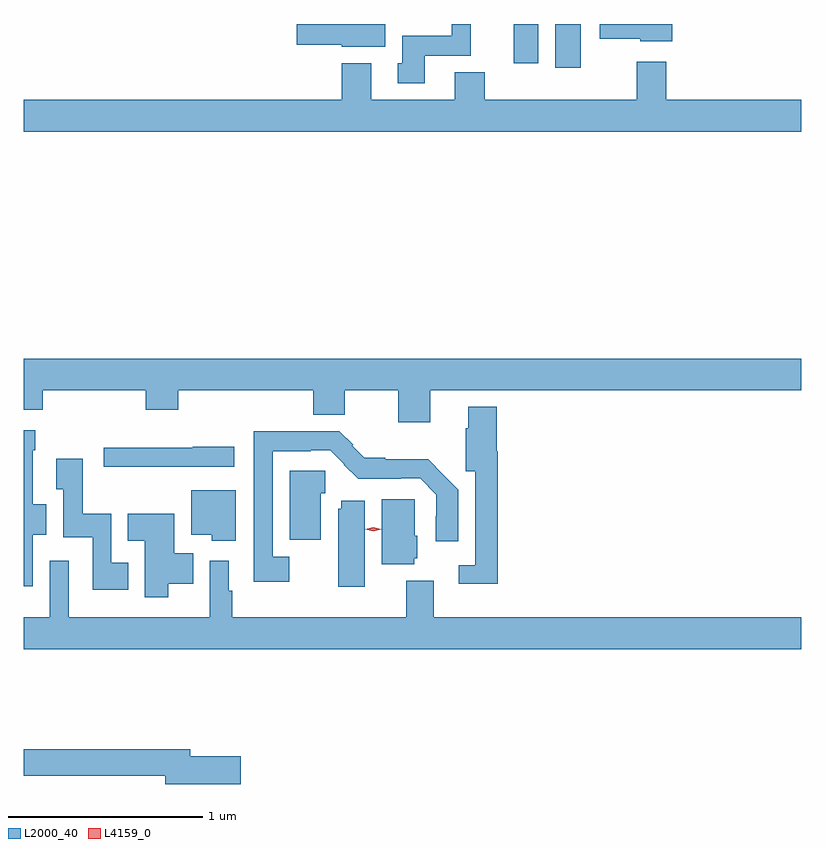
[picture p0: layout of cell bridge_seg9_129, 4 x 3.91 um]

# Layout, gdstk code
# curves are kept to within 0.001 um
import gdstk
lib = gdstk.Library(unit=1e-6, precision=1e-09)
def R(c, l, rs):  # rectangles x0, y0, x1, y1
    for r in rs: c.add(gdstk.rectangle(r[:2], r[2:], *l))
def P(c, l, *ps):  # polygons
    for p in ps: c.add(gdstk.Polygon(p, *l))
L2000_40 = (2000, 40)
L4159_0 = (4159, 0)

bridge_seg9_129 = lib.new_cell('bridge_seg9_129')
R(bridge_seg9_129, L2000_40, [(396.233,1240.704,396.364,1240.93), (396.02,1240.728,396.145,1240.93)])
P(bridge_seg9_129, L2000_40, [(396.835,1240.93),(396.464,1240.93),(396.464,1240.853),(396.672,1240.853),(396.672,1240.841),(396.835,1240.841)],
  [(395.359,1240.93),(394.902,1240.93),(394.902,1240.823),(395.136,1240.823),(395.136,1240.814),(395.359,1240.814)],
  [(395.563,1240.766),(395.799,1240.766),(395.799,1240.93),(395.7,1240.93),(395.7,1240.87),(395.447,1240.87),(395.447,1240.728),(395.423,1240.728),(395.423,1240.626),(395.563,1240.626)],
  [(397.499,1240.54),(396.806,1240.54),(396.806,1240.735),(396.653,1240.735),(396.653,1240.54),(395.87,1240.54),(395.87,1240.681),(395.717,1240.681),(395.717,1240.54),(395.287,1240.54),(395.287,1240.729),(395.135,1240.729),(395.135,1240.54),(393.499,1240.54),(393.499,1240.376),(397.499,1240.376)],
  [(395.59,1239.044),(397.499,1239.044),(397.499,1239.208),(393.499,1239.208),(393.499,1238.945),(393.596,1238.945),(393.596,1239.044),(394.127,1239.044),(394.127,1238.945),(394.292,1238.945),(394.292,1239.044),(394.988,1239.044),(394.988,1238.918),(395.149,1238.918),(395.149,1239.044),(395.426,1239.044),(395.426,1238.88),(395.59,1238.88)],
  [(395.939,1238.731),(395.933,1238.731),(395.933,1238.959),(395.786,1238.959),(395.786,1238.849),(395.774,1238.849),(395.774,1238.628),(395.823,1238.628),(395.823,1238.145),(395.736,1238.145),(395.736,1238.048),(395.939,1238.048)],
  [(393.543,1238.302),(393.613,1238.302),(393.613,1238.457),(393.543,1238.457),(393.543,1238.735),(393.556,1238.735),(393.556,1238.838),(393.499,1238.838),(393.499,1238.036),(393.543,1238.036)],
  [(394.864,1238.188),(394.779,1238.188),(394.779,1238.732),(394.976,1238.732),(394.976,1238.736),(395.076,1238.736),(395.148,1238.664),(395.146,1238.662),(395.22,1238.588),(395.438,1238.588),(395.438,1238.592),(395.538,1238.592),(395.622,1238.508),(395.622,1238.395),(395.618,1238.395),(395.618,1238.268),(395.734,1238.268),(395.734,1238.532),(395.579,1238.689),(395.359,1238.689),(395.359,1238.697),(395.251,1238.697),(395.189,1238.759),(395.193,1238.763),(395.123,1238.833),(394.683,1238.833),(394.683,1238.06),(394.864,1238.06)],
  [(394.265,1238.652),(394.582,1238.652),(394.582,1238.753),(394.369,1238.753),(394.369,1238.75),(393.909,1238.75),(393.909,1238.65),(394.265,1238.65)],
  [(394.036,1238.158),(393.948,1238.158),(393.948,1238.41),(393.801,1238.41),(393.801,1238.692),(393.665,1238.692),(393.665,1238.536),(393.702,1238.536),(393.702,1238.288),(393.852,1238.288),(393.852,1238.018),(394.036,1238.018)],
  [(395.026,1238.514),(395.049,1238.514),(395.049,1238.631),(394.868,1238.631),(394.868,1238.276),(395.026,1238.276)],
  [(394.588,1238.53),(394.361,1238.53),(394.361,1238.3),(394.466,1238.3),(394.466,1238.27),(394.588,1238.27)],
  [(395.508,1238.181),(395.524,1238.181),(395.524,1238.295),(395.511,1238.295),(395.511,1238.484),(395.342,1238.484),(395.342,1238.15),(395.508,1238.15)],
  [(395.254,1238.476),(395.132,1238.476),(395.132,1238.436),(395.117,1238.436),(395.117,1238.034),(395.254,1238.034)],
  [(394.243,1238.048),(394.37,1238.048),(394.37,1238.206),(394.273,1238.206),(394.273,1238.41),(394.033,1238.41),(394.033,1238.27),(394.121,1238.27),(394.121,1237.98),(394.243,1237.98)],
  [(397.499,1237.876),(395.608,1237.876),(395.608,1238.065),(395.468,1238.065),(395.468,1237.876),(394.571,1237.876),(394.571,1238.013),(394.552,1238.013),(394.552,1238.167),(394.455,1238.167),(394.455,1237.876),(393.729,1237.876),(393.729,1238.167),(393.633,1238.167),(393.633,1237.876),(393.499,1237.876),(393.499,1237.712),(397.499,1237.712)],
  [(394.615,1237.16),(394.354,1237.16),(394.354,1237.196),(393.499,1237.196),(393.499,1237.06),(394.226,1237.06),(394.226,1237.018),(394.615,1237.018)])
P(bridge_seg9_129, L4159_0, [(395.297,1238.32),(395.256,1238.33),(395.256,1238.33),(395.256,1238.33),(395.297,1238.34),(395.338,1238.33),(395.338,1238.33),(395.338,1238.33)])

lib.write_gds('bridge_seg9_129.gds')
